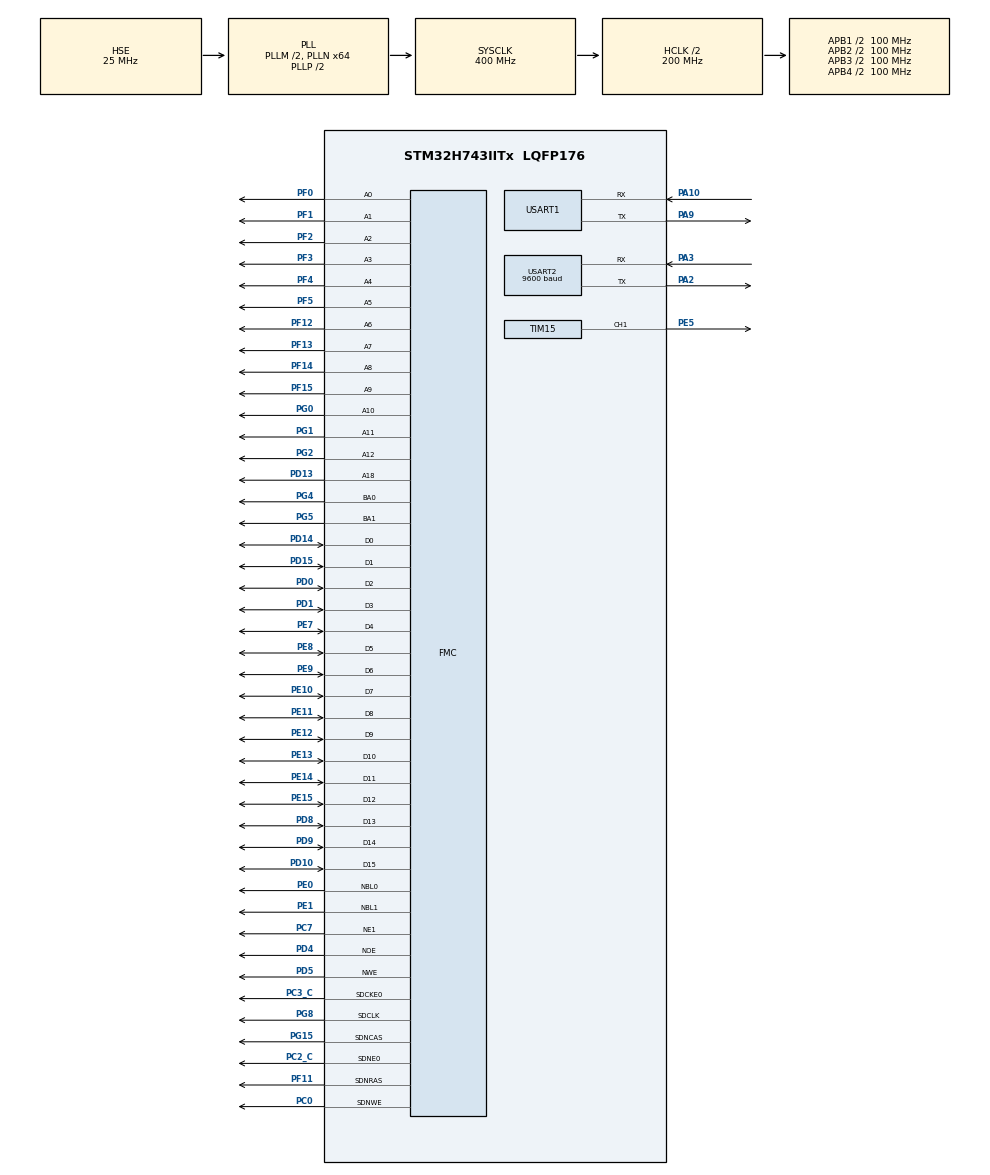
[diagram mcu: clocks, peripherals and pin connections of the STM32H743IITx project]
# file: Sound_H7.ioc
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CORTEX_M7.AccessPermission-Cortex_Memory_Protection_Unit_Region0_Settings=MPU_REGION_FULL_ACCESS
CORTEX_M7.AccessPermission-Cortex_Memory_Protection_Unit_Region1_Settings=MPU_REGION_FULL_ACCESS
CORTEX_M7.BaseAddress-Cortex_Memory_Protection_Unit_Region0_Settings=0x60000000
CORTEX_M7.BaseAddress-Cortex_Memory_Protection_Unit_Region1_Settings=0x24000000
CORTEX_M7.BaseAddress_Spec=0x24000000
CORTEX_M7.CPU_DCache=Enabled
CORTEX_M7.CPU_ICache=Enabled
CORTEX_M7.DisableExec_Spec=MPU_INSTRUCTION_ACCESS_ENABLE
CORTEX_M7.Enable-Cortex_Memory_Protection_Unit_Region0_Settings=MPU_REGION_ENABLE
CORTEX_M7.Enable-Cortex_Memory_Protection_Unit_Region1_Settings=MPU_REGION_ENABLE
CORTEX_M7.IsBufferable-Cortex_Memory_Protection_Unit_Region0_Settings=MPU_ACCESS_BUFFERABLE
CORTEX_M7.IsBufferable-Cortex_Memory_Protection_Unit_Region1_Settings=MPU_ACCESS_NOT_BUFFERABLE
CORTEX_M7.IsBufferable_Spec=MPU_ACCESS_BUFFERABLE
CORTEX_M7.IsCacheable-Cortex_Memory_Protection_Unit_Region1_Settings=MPU_ACCESS_CACHEABLE
CORTEX_M7.IsCacheable_Spec=MPU_ACCESS_CACHEABLE
CORTEX_M7.IsShareable_Spec=MPU_ACCESS_NOT_SHAREABLE
CORTEX_M7.MPU_Control=MPU_PRIVILEGED_DEFAULT
CORTEX_M7.Size-Cortex_Memory_Protection_Unit_Region0_Settings=MPU_REGION_SIZE_256MB
CORTEX_M7.Size-Cortex_Memory_Protection_Unit_Region1_Settings=MPU_REGION_SIZE_256KB
CORTEX_M7.Size_Spec=MPU_REGION_SIZE_512KB
CORTEX_M7.SubRegionDisable_Spec=0x00
CORTEX_M7.TypeExtField_Spec=MPU_TEX_LEVEL0
Dma.Request0=TIM15_CH1
Dma.TIM15_CH1.0.Direction=DMA_MEMORY_TO_PERIPH
Dma.TIM15_CH1.0.EventEnable=DISABLE
Dma.TIM15_CH1.0.FIFOMode=DMA_FIFOMODE_DISABLE
Dma.TIM15_CH1.0.Instance=DMA1_Stream0
Dma.TIM15_CH1.0.MemDataAlignment=DMA_MDATAALIGN_WORD
Dma.TIM15_CH1.0.MemInc=DMA_MINC_ENABLE
Dma.TIM15_CH1.0.Mode=DMA_NORMAL
Dma.TIM15_CH1.0.PeriphDataAlignment=DMA_PDATAALIGN_WORD
Dma.TIM15_CH1.0.PeriphInc=DMA_PINC_DISABLE
Dma.TIM15_CH1.0.Polarity=HAL_DMAMUX_REQ_GEN_RISING
Dma.TIM15_CH1.0.Priority=DMA_PRIORITY_MEDIUM
Dma.TIM15_CH1.0.RequestNumber=1
Dma.TIM15_CH1.0.SignalID=NONE
Dma.TIM15_CH1.0.SyncEnable=DISABLE
Dma.TIM15_CH1.0.SyncPolarity=HAL_DMAMUX_SYNC_NO_EVENT
Dma.TIM15_CH1.0.SyncRequestNumber=1
Dma.TIM15_CH1.0.SyncSignalID=NONE
FMC.AddressSetupTime1=0x11
FMC.BusTurnAroundDuration1=0
FMC.CASLatency1=FMC_SDRAM_CAS_LATENCY_3
FMC.ColumnBitsNumber1=FMC_SDRAM_COLUMN_BITS_NUM_9
FMC.DataSetupTime1=0x55
FMC.ExitSelfRefreshDelay1=8
FMC.ExtendedAddressSetupTime1=0x15
FMC.ExtendedBusTurnAroundDuration1=0
FMC.ExtendedDataSetupTime1=0x15
FMC.ExtendedMode1=FMC_EXTENDED_MODE_ENABLE
FMC.LoadToActiveDelay1=2
FMC.RCDDelay1=2
FMC.RPDelay1=2
FMC.ReadBurst1=FMC_SDRAM_RBURST_ENABLE
FMC.ReadPipeDelay1=FMC_SDRAM_RPIPE_DELAY_1
FMC.RowCycleDelay1=6
FMC.SDClockPeriod1=FMC_SDRAM_CLOCK_PERIOD_2
FMC.SelfRefreshTime1=6
FMC.WriteRecoveryTime1=6
Mcu.Family=STM32H7
Mcu.Name=STM32H743IITx
Mcu.Package=LQFP176
NVIC.DMA1_Stream0_IRQn=true\:0\:0\:false\:false\:true\:false\:true\:true
NVIC.PriorityGroup=NVIC_PRIORITYGROUP_4
NVIC.TIM16_IRQn=true\:0\:0\:false\:false\:true\:true\:true\:true
NVIC.USART2_IRQn=true\:0\:0\:false\:false\:true\:true\:true\:true
PA10.Mode=Asynchronous
PA10.Signal=USART1_RX
PA13\ (JTMS/SWDIO).Mode=Serial_Wire
PA13\ (JTMS/SWDIO).Signal=DEBUG_JTMS-SWDIO
PA14\ (JTCK/SWCLK).Mode=Serial_Wire
PA14\ (JTCK/SWCLK).Signal=DEBUG_JTCK-SWCLK
PA2.Mode=Asynchronous
PA2.Signal=USART2_TX
PA3.Mode=Asynchronous
PA3.Signal=USART2_RX
PA9.Mode=Asynchronous
PA9.Signal=USART1_TX
PC0.Signal=FMC_SDNWE
PC2_C.Mode=SdramChipSelect1_1
PC2_C.Signal=FMC_SDNE0
PC3_C.Mode=SdramChipSelect1_1
PC3_C.Signal=FMC_SDCKE0
PC7.Mode=NorPsramChipSelect1_1
PC7.Signal=FMC_NE1
PD0.Signal=FMC_D2_DA2
PD1.Signal=FMC_D3_DA3
PD10.Signal=FMC_D15_DA15
PD13.Signal=FMC_A18
PD14.Signal=FMC_D0_DA0
PD15.Signal=FMC_D1_DA1
PD4.Signal=FMC_NOE
PD5.Signal=FMC_NWE
PD8.Signal=FMC_D13_DA13
PD9.Signal=FMC_D14_DA14
PE0.Signal=FMC_NBL0
PE1.Signal=FMC_NBL1
PE10.Signal=FMC_D7_DA7
PE11.Signal=FMC_D8_DA8
PE12.Signal=FMC_D9_DA9
PE13.Signal=FMC_D10_DA10
PE14.Signal=FMC_D11_DA11
PE15.Signal=FMC_D12_DA12
PE5.Signal=S_TIM15_CH1
PE7.Signal=FMC_D4_DA4
PE8.Signal=FMC_D5_DA5
PE9.Signal=FMC_D6_DA6
PF0.Signal=FMC_A0
PF1.Signal=FMC_A1
PF11.Signal=FMC_SDNRAS
PF12.Signal=FMC_A6
PF13.Signal=FMC_A7
PF14.Signal=FMC_A8
PF15.Signal=FMC_A9
PF2.Signal=FMC_A2
PF3.Signal=FMC_A3
PF4.Signal=FMC_A4
PF5.Signal=FMC_A5
PG0.Signal=FMC_A10
PG1.Signal=FMC_A11
PG15.Signal=FMC_SDNCAS
PG2.Signal=FMC_A12
PG4.Signal=FMC_A14_BA0
PG5.Signal=FMC_A15_BA1
PG8.Signal=FMC_SDCLK
PH0-OSC_IN\ (PH0).Mode=HSE-External-Oscillator
PH0-OSC_IN\ (PH0).Signal=RCC_OSC_IN
PH1-OSC_OUT\ (PH1).Mode=HSE-External-Oscillator
PH1-OSC_OUT\ (PH1).Signal=RCC_OSC_OUT
ProjectManager.HeapSize=0x200
ProjectManager.StackSize=0x400
ProjectManager.TargetToolchain=Makefile
RCC.ADCFreq_Value=50390625
RCC.APB1Freq_Value=100000000
RCC.APB2Freq_Value=100000000
RCC.APB3Freq_Value=100000000
RCC.APB4Freq_Value=100000000
RCC.CortexFreq_Value=400000000
RCC.D1PPRE=RCC_APB3_DIV2
RCC.D2PPRE1=RCC_APB1_DIV2
RCC.D2PPRE2=RCC_APB2_DIV2
RCC.D3PPRE=RCC_APB4_DIV2
RCC.DIVM1=2
RCC.DIVN1=64
RCC.HCLKFreq_Value=200000000
RCC.HPRE=RCC_HCLK_DIV2
RCC.PLL2FRACN=0
RCC.PLL3FRACN=0
RCC.PLLFRACN=0
RCC.PLLSourceVirtual=RCC_PLLSOURCE_HSE
RCC.SYSCLKFreq_VALUE=400000000
RCC.SYSCLKSource=RCC_SYSCLKSOURCE_PLLCLK
RCC.USBFreq_Value=400000000
SH.FMC_A0.0=FMC_A0,13b-sda1
SH.FMC_A1.0=FMC_A1,13b-sda1
SH.FMC_A10.0=FMC_A10,13b-sda1
SH.FMC_A11.0=FMC_A11,13b-sda1
SH.FMC_A12.0=FMC_A12,13b-sda1
SH.FMC_A14_BA0.0=FMC_BA0,FourSdramBanks1
SH.FMC_A15_BA1.0=FMC_BA1,FourSdramBanks1
SH.FMC_A18.0=FMC_A18,A18_1
SH.FMC_A2.0=FMC_A2,13b-sda1
SH.FMC_A3.0=FMC_A3,13b-sda1
SH.FMC_A4.0=FMC_A4,13b-sda1
SH.FMC_A5.0=FMC_A5,13b-sda1
SH.FMC_A6.0=FMC_A6,13b-sda1
SH.FMC_A7.0=FMC_A7,13b-sda1
SH.FMC_A8.0=FMC_A8,13b-sda1
SH.FMC_A9.0=FMC_A9,13b-sda1
SH.FMC_D0_DA0.0=FMC_D0,16b-d1
SH.FMC_D0_DA0.1=FMC_D0,sd-16b-d1
SH.FMC_D10_DA10.0=FMC_D10,16b-d1
SH.FMC_D10_DA10.1=FMC_D10,sd-16b-d1
SH.FMC_D11_DA11.0=FMC_D11,16b-d1
SH.FMC_D11_DA11.1=FMC_D11,sd-16b-d1
SH.FMC_D12_DA12.0=FMC_D12,16b-d1
SH.FMC_D12_DA12.1=FMC_D12,sd-16b-d1
SH.FMC_D13_DA13.0=FMC_D13,16b-d1
SH.FMC_D13_DA13.1=FMC_D13,sd-16b-d1
SH.FMC_D14_DA14.0=FMC_D14,16b-d1
SH.FMC_D14_DA14.1=FMC_D14,sd-16b-d1
SH.FMC_D15_DA15.0=FMC_D15,16b-d1
SH.FMC_D15_DA15.1=FMC_D15,sd-16b-d1
SH.FMC_D1_DA1.0=FMC_D1,16b-d1
SH.FMC_D1_DA1.1=FMC_D1,sd-16b-d1
SH.FMC_D2_DA2.0=FMC_D2,16b-d1
SH.FMC_D2_DA2.1=FMC_D2,sd-16b-d1
SH.FMC_D3_DA3.0=FMC_D3,16b-d1
SH.FMC_D3_DA3.1=FMC_D3,sd-16b-d1
SH.FMC_D4_DA4.0=FMC_D4,16b-d1
SH.FMC_D4_DA4.1=FMC_D4,sd-16b-d1
SH.FMC_D5_DA5.0=FMC_D5,16b-d1
SH.FMC_D5_DA5.1=FMC_D5,sd-16b-d1
SH.FMC_D6_DA6.0=FMC_D6,16b-d1
SH.FMC_D6_DA6.1=FMC_D6,sd-16b-d1
SH.FMC_D7_DA7.0=FMC_D7,16b-d1
SH.FMC_D7_DA7.1=FMC_D7,sd-16b-d1
SH.FMC_D8_DA8.0=FMC_D8,16b-d1
SH.FMC_D8_DA8.1=FMC_D8,sd-16b-d1
SH.FMC_D9_DA9.0=FMC_D9,16b-d1
SH.FMC_D9_DA9.1=FMC_D9,sd-16b-d1
SH.FMC_NBL0.0=FMC_NBL0,Sd2ByteEnable1
SH.FMC_NBL1.0=FMC_NBL1,Sd2ByteEnable1
SH.FMC_NOE.0=FMC_NOE,Lcd1
SH.FMC_NWE.0=FMC_NWE,Lcd1
SH.FMC_SDCLK.0=FMC_SDCLK,13b-sda1
SH.FMC_SDNCAS.0=FMC_SDNCAS,13b-sda1
SH.FMC_SDNRAS.0=FMC_SDNRAS,13b-sda1
SH.FMC_SDNWE.0=FMC_SDNWE,13b-sda1
SH.S_TIM15_CH1.0=TIM15_CH1,PWM Generation1 CH1
TIM15.Channel-PWM\ Generation1\ CH1=TIM_CHANNEL_1
TIM15.Period=250-1
TIM15.Prescaler=0
TIM16.Period=1000-1
TIM16.Prescaler=240-1
TIM17.Prescaler=240-1
USART1.VirtualMode-Asynchronous=VM_ASYNC
USART2.BaudRate=9600
USART2.VirtualMode-Asynchronous=VM_ASYNC
VP_TIM15_VS_ClockSourceINT.Mode=Internal
VP_TIM16_VS_ClockSourceINT.Mode=Enable_Timer
VP_TIM17_VS_ClockSourceINT.Mode=Enable_Timer
board=custom

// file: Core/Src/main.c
/* USER CODE BEGIN Header */
/**
  ******************************************************************************
  * @file           : main.c
  * @brief          : Main program body
  ******************************************************************************
  * @attention
  *
  * Copyright (c) 2024 STMicroelectronics.
  * All rights reserved.
  *
  * This software is licensed under terms that can be found in the LICENSE file
  * in the root directory of this software component.
  * If no LICENSE file comes with this software, it is provided AS-IS.
  *
  ******************************************************************************
  */
/* USER CODE END Header */
#include "main.h"
#include "dma.h"
#include "tim.h"
#include "usart.h"
#include "gpio.h"
#include "fmc.h"

/* USER CODE BEGIN Includes */
#include "lcd.h"
#include "touch.h"
#include "retarget.h"
#include "lvgl.h"
#include "lv_port_disp.h"
#include "lv_port_indev.h"
#include "gui_guider.h"
#include "custom.h"
#include "events_init.h"
#include "sdram.h"
#include  "mode2control.h"
#include "stm32h7xx_it.h"
#include "RGB.h"
/* USER CODE END Includes */

void SystemClock_Config(void);
static void MPU_Initialize(void);
static void MPU_Config(void);

/* USER CODE BEGIN 0 */
  lv_ui guider_ui;

//SDRAM????
void fsmc_sdram_test(u16 x,u16 y)
{
	vu32 i=0;
	vu32 temp=0;
	vu32 sval=0;	//???0?????
  printf("Ex Memory Test:    0KB\n");
	//??16K??,??????,????2048???,???32M??
	for(i=0;i<32*1024*1024;i+=16*1024)
	{
		*(vu32*)(Bank5_SDRAM_ADDR+i)=temp;
		temp++;
	}
	//???????????,????
 	for(i=0;i<32*1024*1024;i+=16*1024)
	{
  		temp=*(vu32*)(Bank5_SDRAM_ADDR+i);
		if(i==0)sval=temp;
 		else if(temp<=sval)break;//????????????????????.
		LCD_ShowxNum(x+15*8,y,(u16)(temp-sval+1)*16,5,16,0);	//??????
		printf("SDRAM Capacity:%dKB\r\n",(u16)(temp-sval+1)*16);//??SDRAM??
 	}
}
/* USER CODE END 0 */

int main(void)
{

  /* Enable I-Cache---------------------------------------------------------*/
  SCB_EnableICache();

  /* Enable D-Cache---------------------------------------------------------*/
  SCB_EnableDCache();

  /* MCU Configuration--------------------------------------------------------*/

  /* Reset of all peripherals, Initializes the Flash interface and the Systick. */
  HAL_Init();

  /* MPU Configuration--------------------------------------------------------*/
  MPU_Config();

  /* Configure the system clock */
  SystemClock_Config();

  /* Initialize all configured peripherals */
  MX_GPIO_Init();
  MX_DMA_Init();
  MX_TIM16_Init();
  MX_TIM17_Init();
  MX_FMC_Init();
  MX_TIM15_Init();
  MX_USART1_UART_Init();
  MX_USART2_UART_Init();
  /* USER CODE BEGIN 2 */
  RetargetInit(&huart1);
  HAL_TIM_Base_Start_IT(&htim16);
  //fsmc_sdram_test(30,170);
  u8 x=0;
	u8 lcd_id[12];						//存放LCD ID字符�???
  //LCD_Init();
  //tp_dev.init();
  lv_init();
  lv_port_disp_init();
  lv_port_indev_init();
  sprintf((char*)lcd_id,"LCD ID:%04X",lcddev.id);//将LCD ID打印到lcd_id数组�???
  printf("%x",tp_dev.touchtype);
  //lv_demo_keypad_encoder();
  setup_ui(&guider_ui);
  events_init(&guider_ui);
  custom_init(&guider_ui);
  //HAL_TIM_Base_Start(&htim15);
  RGB_SetMore_Color(0,9,LED_RED);
  RGB_Flush();
  HAL_UART_Receive_IT(&huart2,(uint8_t*)Rx_data,5);
  // check_path();
  // HAL_Delay(1);
  set_path();
  // HAL_Delay(1);
  // check_path();
  // check_path_();
  //check_song();

  //song_start();
  // HAL_Delay(1);
  // check_state();
  HAL_Delay(1);
  song_start();
  HAL_Delay(1);
  song_pause();
  //HAL_Delay(1);
  //check_state();
  /* USER CODE END 2 */

  /* Infinite loop */
  /* USER CODE BEGIN WHILE */
  while (1)
  {
    lv_task_handler();
    /* USER CODE END WHILE */

  }
}

void SystemClock_Config(void)
{
  RCC_OscInitTypeDef RCC_OscInitStruct = {0};
  RCC_ClkInitTypeDef RCC_ClkInitStruct = {0};

  /** Supply configuration update enable
  */
  HAL_PWREx_ConfigSupply(PWR_LDO_SUPPLY);

  /** Configure the main internal regulator output voltage
  */
  __HAL_PWR_VOLTAGESCALING_CONFIG(PWR_REGULATOR_VOLTAGE_SCALE1);

  while(!__HAL_PWR_GET_FLAG(PWR_FLAG_VOSRDY)) {}

  /** Initializes the RCC Oscillators according to the specified parameters
  * in the RCC_OscInitTypeDef structure.
  */
  RCC_OscInitStruct.OscillatorType = RCC_OSCILLATORTYPE_HSE;
  RCC_OscInitStruct.HSEState = RCC_HSE_ON;
  RCC_OscInitStruct.PLL.PLLState = RCC_PLL_ON;
  RCC_OscInitStruct.PLL.PLLSource = RCC_PLLSOURCE_HSE;
  RCC_OscInitStruct.PLL.PLLM = 2;
  RCC_OscInitStruct.PLL.PLLN = 64;
  RCC_OscInitStruct.PLL.PLLP = 2;
  RCC_OscInitStruct.PLL.PLLQ = 2;
  RCC_OscInitStruct.PLL.PLLR = 2;
  RCC_OscInitStruct.PLL.PLLRGE = RCC_PLL1VCIRANGE_3;
  RCC_OscInitStruct.PLL.PLLVCOSEL = RCC_PLL1VCOWIDE;
  RCC_OscInitStruct.PLL.PLLFRACN = 0;
  if (HAL_RCC_OscConfig(&RCC_OscInitStruct) != HAL_OK)
  {
    Error_Handler();
  }

  /** Initializes the CPU, AHB and APB buses clocks
  */
  RCC_ClkInitStruct.ClockType = RCC_CLOCKTYPE_HCLK|RCC_CLOCKTYPE_SYSCLK
                              |RCC_CLOCKTYPE_PCLK1|RCC_CLOCKTYPE_PCLK2
                              |RCC_CLOCKTYPE_D3PCLK1|RCC_CLOCKTYPE_D1PCLK1;
  RCC_ClkInitStruct.SYSCLKSource = RCC_SYSCLKSOURCE_PLLCLK;
  RCC_ClkInitStruct.SYSCLKDivider = RCC_SYSCLK_DIV1;
  RCC_ClkInitStruct.AHBCLKDivider = RCC_HCLK_DIV2;
  RCC_ClkInitStruct.APB3CLKDivider = RCC_APB3_DIV2;
  RCC_ClkInitStruct.APB1CLKDivider = RCC_APB1_DIV2;
  RCC_ClkInitStruct.APB2CLKDivider = RCC_APB2_DIV2;
  RCC_ClkInitStruct.APB4CLKDivider = RCC_APB4_DIV2;

  if (HAL_RCC_ClockConfig(&RCC_ClkInitStruct, FLASH_LATENCY_2) != HAL_OK)
  {
    Error_Handler();
  }
}

/* MPU Configuration */

void MPU_Config(void)
{
  MPU_Region_InitTypeDef MPU_InitStruct = {0};

  /* Disables the MPU */
  HAL_MPU_Disable();

  /** Initializes and configures the Region and the memory to be protected
  */
  MPU_InitStruct.Enable = MPU_REGION_ENABLE;
  MPU_InitStruct.Number = MPU_REGION_NUMBER0;
  MPU_InitStruct.BaseAddress = 0x60000000;
  MPU_InitStruct.Size = MPU_REGION_SIZE_256MB;
  MPU_InitStruct.SubRegionDisable = 0x0;
  MPU_InitStruct.TypeExtField = MPU_TEX_LEVEL0;
  MPU_InitStruct.AccessPermission = MPU_REGION_FULL_ACCESS;
  MPU_InitStruct.DisableExec = MPU_INSTRUCTION_ACCESS_ENABLE;
  MPU_InitStruct.IsShareable = MPU_ACCESS_NOT_SHAREABLE;
  MPU_InitStruct.IsCacheable = MPU_ACCESS_NOT_CACHEABLE;
  MPU_InitStruct.IsBufferable = MPU_ACCESS_BUFFERABLE;

  HAL_MPU_ConfigRegion(&MPU_InitStruct);

  /** Initializes and configures the Region and the memory to be protected
  */
  MPU_InitStruct.Number = MPU_REGION_NUMBER1;
  MPU_InitStruct.BaseAddress = 0x24000000;
  MPU_InitStruct.Size = MPU_REGION_SIZE_256KB;
  MPU_InitStruct.IsCacheable = MPU_ACCESS_CACHEABLE;
  MPU_InitStruct.IsBufferable = MPU_ACCESS_NOT_BUFFERABLE;

  HAL_MPU_ConfigRegion(&MPU_InitStruct);
  /* Enables the MPU */
  HAL_MPU_Enable(MPU_PRIVILEGED_DEFAULT);

}

void Error_Handler(void)
{
  __disable_irq();
  while (1)
  {
  }
}
